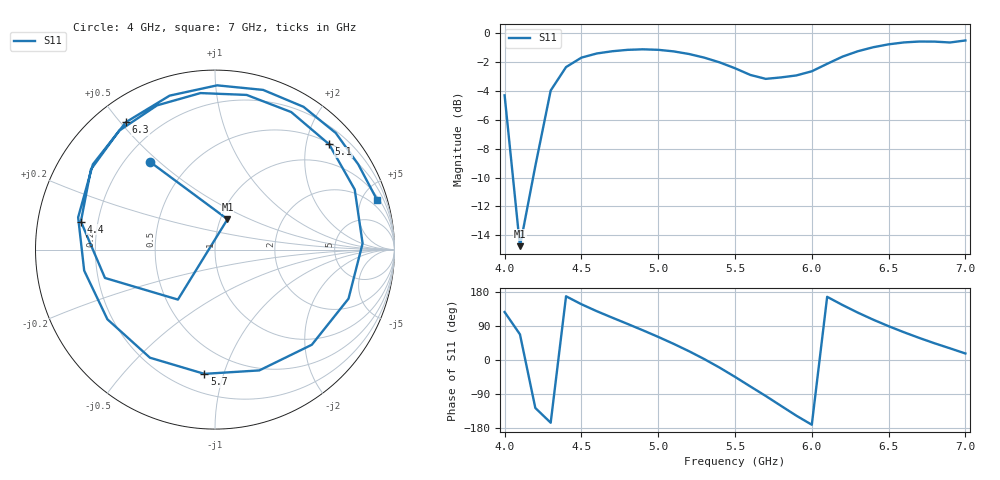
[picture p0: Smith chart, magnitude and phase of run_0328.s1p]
! Touchstone file exported from HFSS 2024.2.0
!  File:  C:/Users/wsak9/Desktop/Sim Fast/Widenad Patch/WP_AI_V1_sweep.aedt
!  Generated:  04:53:52 AM Oct 14, 2026
!  Design:  A1_model
!  Project:  WP_AI_V1_sweep
!  Setup:  Setup1
!  Solution:  Sweep
! Variables:
!  Air_gap = 2.63mm
!  Curve_Amp1 = 2.33
!  Curve_len1 = 1
!  Curve_pos = 13.44mm
!  Extra = 1.09mm
!  H_sub = 0.79mm
!  L_Patch = 22.88mm
!  L_Patch1 = 15.8mm
!  Sx = 0.85mm
!  Sy = 1.85mm
!  WS = 1.08mm
!  W_Patch = 18.5mm
!  W_Patch1 = 14.71mm
!Data is not renormalized
# GHz S MA
! Terminal data exported
! Port[1] = 1
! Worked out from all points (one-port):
!   31 points, 4 GHz to 7 GHz, reference per port
!   lowest |S11| = -14.8 dB at 4.1 GHz (marker M1), VSWR 1.45
!   |S11| at or under -10 dB: 4.055 GHz to 4.186 GHz (131.1 MHz wide, 3.18 % of centre)
!   S11 on the Smith chart (normalised r, x): 4 GHz: 0.30, +0.47; 4.4 GHz: 0.14, +0.10; 5.1 GHz: 0.53, +2.46; 5.7 GHz: 0.32, -0.86; 6.3 GHz: 0.09, +0.52; 7 GHz: 1.24, +6.38
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4  0.6093 126.6
4.1  0.1829 67.7
4.2  0.3468 -126.6
4.3  0.6331 -165.5
4.4  0.7634 168.2
4.5  0.8231 147.1
4.6  0.8509 128.8
4.8  0.8758 95.3
4.9  0.8796 78.4
5  0.8761 61.0
5.1  0.8652 42.7
5.2  0.8474 23.3
5.3  0.8231 2.4
5.4  0.7926 -20.2
5.5  0.7563 -44.5
5.6  0.7169 -69.9
5.7  0.6948 -94.9
5.8  0.703 -121.0
5.9  0.7142 -147.1
6  0.7382 -170.9
6.1  0.7834 166.7
6.2  0.8298 145.1
6.3  0.8663 124.9
6.4  0.8943 106.4
6.5  0.9152 89.3
6.7  0.936 58.2
6.8  0.9353 44.0
7  0.944 17.2
